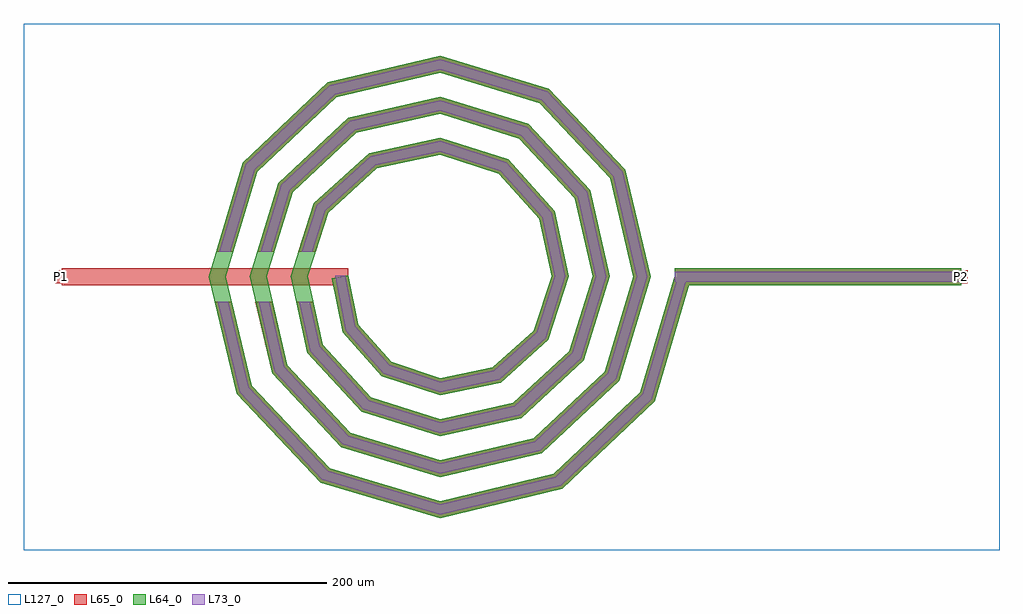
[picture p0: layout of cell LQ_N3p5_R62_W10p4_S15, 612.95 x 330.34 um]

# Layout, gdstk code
import gdstk
lib = gdstk.Library(unit=1e-6, precision=1e-09)
def R(c, l, rs):  # rectangles x0, y0, x1, y1
    for r in rs: c.add(gdstk.rectangle(r[:2], r[2:], *l))
def P(c, l, *ps):  # polygons
    for p in ps: c.add(gdstk.Polygon(p, *l))
L64_0 = (64, 0)
L65_0 = (65, 0)
L73_0 = (73, 0)
L127_0 = (127, 0)

lq_n3p5_r62_w10p4_s15 = lib.new_cell('LQ_N3p5_R62_W10p4_S15')
R(lq_n3p5_r62_w10p4_s15, L64_0, [(147.433,-5.2,327.433,5.2)])
P(lq_n3p5_r62_w10p4_s15, L64_0, [(-51.344,-30.026),(-30.532,-53.524),(0.311,-63.759),(33.211,-56.92),(59.071,-33.767),(70.181,0.284),(62.494,36.4),(36.998,64.621),(0.262,76.603),(-39.593,68.066),(-70.172,40.226),(-83.025,0.243),(-73.637,-42.788),(-43.452,-75.726),(0.227,-89.447),(45.986,-79.207),(81.28,-46.677),(95.87,0.212),(84.776,49.185),(49.899,86.836),(0.2,102.292),(-52.386,90.344),(-92.392,53.121),(-108.715,0.188),(-95.911,-55.588),(-56.341,-97.949),(0.178,-115.137),(58.791,-101.478),(103.506,-59.56),(121.56,0.169),(107.045,61.995),(62.779,109.064),(0.161,127.983),(-65.199,112.611),(-114.623,65.997),(-134.406,0.154),(-118.177,-68.404),(-69.215,-120.182),(0.147,-140.828),(71.61,-123.743),(125.741,-72.431),(147.647,1.478),(157.619,-1.478),(134.919,-78.061),(76.741,-133.209),(0.147,-151.592),(-74.855,-129.354),(-127.65,-73.524),(-145.169,0.154),(-123.788,71.649),(-70.306,122.091),(0.161,138.746),(68.444,118.221),(116.532,67.088),(132.323,0.169),(112.654,-65.24),(63.868,-110.974),(0.178,-125.899),(-62.036,-107.087),(-105.416,-60.648),(-119.476,0.188),(-101.519,58.834),(-57.427,99.859),(0.2,113.053),(55.632,95.95),(94.302,54.205),(106.629,0.212),(90.381,-52.432),(50.982,-88.746),(0.227,-100.206),(-49.233,-84.811),(-83.191,-47.756),(-93.783,0.243),(-79.239,46.036),(-44.529,77.637),(0.262,87.359),(42.842,73.666),(72.084,41.299),(80.935,0.284),(68.091,-39.65),(38.065,-66.533),(0.311,-74.511),(-36.462,-62.513),(-60.985,-34.827),(-67.809,-1.029),(-57.615,1.029)])
R(lq_n3p5_r62_w10p4_s15, L65_0, [(-237.512,-5.2,-57.512,5.2), (147.433,-5.2,327.433,5.2), (-241.512,-4,-233.512,4), (323.433,-4,331.433,4)])
P(lq_n3p5_r62_w10p4_s15, L65_0, [(-118.177,-68.405),(-69.215,-120.182),(0.147,-140.828),(71.61,-123.743),(125.741,-72.431),(147.648,1.478),(157.619,-1.478),(134.919,-78.061),(76.741,-133.209),(0.147,-151.592),(-74.855,-129.354),(-127.65,-73.524),(-141.423,-15.6),(-130.733,-15.6)],
  [(-95.911,-55.588),(-56.341,-97.949),(0.178,-115.138),(58.791,-101.478),(103.506,-59.561),(121.56,0.169),(107.045,61.995),(62.779,109.064),(0.161,127.983),(-65.199,112.611),(-114.623,65.997),(-129.694,15.6),(-140.55,15.6),(-123.788,71.649),(-70.306,122.091),(0.161,138.746),(68.444,118.221),(116.532,67.088),(132.323,0.169),(112.654,-65.24),(63.868,-110.974),(0.178,-125.899),(-62.036,-107.087),(-105.416,-60.648),(-115.827,-15.6),(-105.153,-15.6)],
  [(-73.637,-42.789),(-43.453,-75.726),(0.227,-89.447),(45.986,-79.207),(81.28,-46.677),(95.87,0.212),(84.776,49.185),(49.899,86.836),(0.2,102.292),(-52.386,90.344),(-92.392,53.121),(-103.881,15.6),(-114.757,15.6),(-101.519,58.834),(-57.427,99.859),(0.2,113.053),(55.632,95.951),(94.302,54.205),(106.63,0.212),(90.381,-52.432),(50.982,-88.746),(0.227,-100.206),(-49.233,-84.811),(-83.191,-47.756),(-90.287,-15.6),(-79.636,-15.6)],
  [(-30.532,-53.524),(0.311,-63.759),(33.211,-56.92),(59.071,-33.767),(70.181,0.284),(62.494,36.4),(36.998,64.621),(0.262,76.603),(-39.593,68.066),(-70.172,40.226),(-77.994,15.6),(-88.905,15.6),(-79.239,46.036),(-44.529,77.637),(0.262,87.359),(42.842,73.666),(72.084,41.299),(80.935,0.284),(68.091,-39.65),(38.065,-66.533),(0.311,-74.511),(-36.462,-62.513),(-60.985,-34.827),(-67.809,-1.029),(-57.615,1.029),(-51.344,-30.026)])
R(lq_n3p5_r62_w10p4_s15, L73_0, [(147.433,-3.2,327.433,3.2)])
P(lq_n3p5_r62_w10p4_s15, L73_0, [(-119.999,-69.389),(-70.299,-121.945),(0.091,-142.898),(72.597,-125.563),(127.506,-73.514),(149.565,0.909),(155.701,0.909),(133.154,-76.978),(75.754,-131.389),(0.091,-149.522),(-73.77,-127.59),(-125.828,-72.539),(-139.367,-15.6),(-132.789,-15.6)],
  [(-97.739,-56.561),(-57.436,-99.706),(0.11,-117.207),(59.767,-103.305),(105.266,-60.653),(123.63,0.104),(108.87,62.974),(63.869,110.825),(0.099,130.053),(-66.181,114.434),(-116.385,67.084),(-131.782,15.6),(-138.462,15.6),(-122.025,70.562),(-69.324,120.268),(0.099,136.676),(67.355,116.46),(114.708,66.108),(130.253,0.104),(110.895,-64.148),(62.892,-109.148),(0.11,-123.83),(-60.941,-105.33),(-103.588,-59.675),(-113.775,-15.6),(-107.206,-15.6)],
  [(-75.474,-43.744),(-44.564,-77.473),(0.14,-91.516),(46.947,-81.041),(83.03,-47.784),(97.939,0.131),(86.608,50.151),(51.002,88.588),(0.123,104.362),(-53.356,92.174),(-94.147,54.219),(-105.972,15.6),(-112.666,15.6),(-99.764,57.735),(-56.458,98.029),(0.123,110.984),(54.53,94.198),(92.47,53.24),(104.56,0.131),(88.631,-51.325),(50.021,-86.912),(0.14,-98.137),(-48.122,-83.064),(-81.354,-46.801),(-88.239,-15.6),(-81.685,-15.6)],
  [(-31.672,-55.253),(0.191,-65.827),(34.144,-58.769),(60.806,-34.898),(72.249,0.175),(64.338,37.342),(38.122,66.36),(0.161,78.671),(-40.542,69.907),(-71.916,41.344),(-80.092,15.6),(-86.807,15.6),(-77.496,44.919),(-43.58,75.797),(0.161,85.29),(41.718,71.927),(70.24,40.357),(78.867,0.175),(66.356,-38.519),(37.132,-64.685),(0.191,-72.443),(-35.322,-60.785),(-59.131,-33.904),(-65.849,0.633),(-59.575,0.633),(-53.198,-30.949)])
R(lq_n3p5_r62_w10p4_s15, L127_0, [(-261.512,-171.592,351.433,158.746)])
lq_n3p5_r62_w10p4_s15.add(gdstk.Label('P2', (327.433,0), layer=65, texttype=0))
lq_n3p5_r62_w10p4_s15.add(gdstk.Label('P1', (-237.512,0), layer=65, texttype=0))
lq_n3p5_r62_w10p4_s15.add(gdstk.Label('P2', (331.433,0), layer=145, texttype=0))
lq_n3p5_r62_w10p4_s15.add(gdstk.Label('P1', (-241.512,0), layer=145, texttype=0))

lib.write_gds('LQ_N3p5_R62_W10p4_S15.gds')
